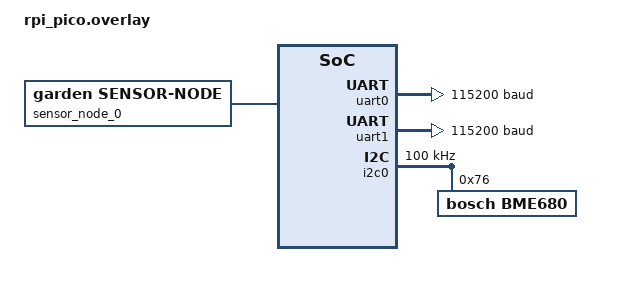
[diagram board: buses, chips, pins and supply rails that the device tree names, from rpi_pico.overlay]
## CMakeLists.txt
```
# SPDX-License-Identifier: Apache-2.0

cmake_minimum_required(VERSION 3.20.0)

find_package(Zephyr REQUIRED HINTS $ENV{ZEPHYR_BASE})
project(base_node)

# Include the protocol header directory
include_directories(${CMAKE_CURRENT_SOURCE_DIR}/../..)

# Add driver files
target_sources(app PRIVATE 
    ${CMAKE_CURRENT_SOURCE_DIR}/../driver/sensor_node_driver.c
)

# Add main application files
target_sources(app PRIVATE 
    src/main.c
)
```

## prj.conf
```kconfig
# Console
CONFIG_CONSOLE=y
CONFIG_UART_CONSOLE=y

# Logging
CONFIG_LOG=y
CONFIG_LOG_DEFAULT_LEVEL=3

# Shell
CONFIG_SHELL=y
CONFIG_SHELL_BACKEND_SERIAL=y
CONFIG_SHELL_PROMPT_UART="base_node:~$ "

# UART
CONFIG_SERIAL=y
CONFIG_UART_INTERRUPT_DRIVEN=y

# Sensors
CONFIG_SENSOR=y

# GPIO
CONFIG_GPIO=y

# Heap and Memory
CONFIG_HEAP_MEM_POOL_SIZE=8192
CONFIG_MAIN_STACK_SIZE=2048

# Threading
CONFIG_THREAD_NAME=y
CONFIG_THREAD_STACK_INFO=y
CONFIG_THREAD_MONITOR=y

# System
CONFIG_REBOOT=y
```

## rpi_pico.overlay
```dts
/*
 * Copyright (c) 2025 Smart Gardening System
 *
 * SPDX-License-Identifier: Apache-2.0
 */

/ {
    chosen {
        zephyr,console = &uart0;
        zephyr,shell-uart = &uart0;
    };

    sensor_node_0: sensor_node_0 {
        compatible = "garden,sensor-node";
        status = "okay";
    };
};

&uart0 {
    status = "okay";
    current-speed = <115200>;
};

&uart1 {
    status = "okay";
    current-speed = <115200>;
};

&i2c0 {
    status = "okay";
    clock-frequency = <100000>;

    bme680: bme680@76 {
        compatible = "bosch,bme680";
        label = "BME680";
        reg = <0x76>;
    };
};
```

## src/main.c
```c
/**
 * @file main.c
 * @brief Main application for the Smart Gardening System base node
 */

#include <zephyr/kernel.h>
#include <zephyr/device.h>
#include <zephyr/drivers/sensor.h>
#include <zephyr/shell/shell.h>
#include <zephyr/logging/log.h>
#include <zephyr/sys/printk.h>
#include <stdlib.h>
#include <stdio.h>
#include <string.h>

#include "protocol.h"

LOG_MODULE_REGISTER(main, CONFIG_LOG_DEFAULT_LEVEL);

/* Device reference for the sensor node */
static const struct device *sensor_node_dev; 

/* External functions from sensor driver */
extern int sensor_node_ping(const struct device *dev);
extern int sensor_node_set_threshold(const struct device *dev, uint8_t sensor_type, uint8_t alert_type, float threshold);

/* Threshold values */
static float light_low_threshold = 50.0f;    /* 50 lux */
static float light_high_threshold = 10000.0f; /* 10,000 lux */
static float temp_low_threshold = 10.0f;     /* 10°C */
static float temp_high_threshold = 30.0f;    /* 30°C */
static uint16_t soil_dry_threshold = 300;    /* 300 (30%) */
static uint16_t soil_wet_threshold = 700;    /* 700 (70%) */

/* Thread for periodic sensor reading */
#define SENSOR_THREAD_STACK_SIZE 2048
#define SENSOR_THREAD_PRIORITY 5

K_THREAD_STACK_DEFINE(sensor_thread_stack, SENSOR_THREAD_STACK_SIZE);
static struct k_thread sensor_thread_data;
static k_tid_t sensor_thread_id;
static volatile bool sensor_thread_running = false;

/* Forward declarations */
static int cmd_help(const struct shell *shell, size_t argc, char **argv);
static int cmd_ping(const struct shell *shell, size_t argc, char **argv);
static int cmd_show(const struct shell *shell, size_t argc, char **argv);
static int cmd_set(const struct shell *shell, size_t argc, char **argv);

/* Shell command handlers */
SHELL_STATIC_SUBCMD_SET_CREATE(sub_set,
    SHELL_CMD(light, NULL, "Set light threshold: set light low|high <value>", cmd_set),
    SHELL_CMD(temp, NULL, "Set temperature threshold: set temp low|high <value>", cmd_set),
    SHELL_CMD(soil, NULL, "Set soil moisture threshold: set soil dry|wet <value>", cmd_set),
    SHELL_SUBCMD_SET_END
);

SHELL_STATIC_SUBCMD_SET_CREATE(sub_show,
    SHELL_CMD(light, NULL, "Show light sensor data", cmd_show),
    SHELL_CMD(temp, NULL, "Show temperature sensor data", cmd_show),
    SHELL_CMD(soil, NULL, "Show soil moisture sensor data", cmd_show),
    SHELL_CMD(all, NULL, "Show all sensor data", cmd_show),
    SHELL_CMD(thresholds, NULL, "Show all threshold values", cmd_show),
    SHELL_SUBCMD_SET_END
);

SHELL_STATIC_SUBCMD_SET_CREATE(sub_commands,
    SHELL_CMD(help, NULL, "Display help information", cmd_help),
    SHELL_CMD(ping, NULL, "Ping the sensor node", cmd_ping),
    SHELL_CMD(show, &sub_show, "Show sensor data", NULL),
    SHELL_CMD(set, &sub_set, "Set sensor thresholds", NULL),
    SHELL_SUBCMD_SET_END
);

SHELL_CMD_REGISTER(help, &sub_commands, "Smart Gardening System Commands", cmd_help);

/* Shell command implementations */
static int cmd_help(const struct shell *shell, size_t argc, char **argv)
{
    shell_print(shell, "Smart Gardening System - Base Node");
    shell_print(shell, "Available commands:");
    shell_print(shell, "  help          - Display this help message");
    shell_print(shell, "  ping          - Ping the sensor node");
    shell_print(shell, "  show light    - Show light sensor data");
    shell_print(shell, "  show temp     - Show temperature sensor data");
    shell_print(shell, "  show soil     - Show soil moisture sensor data");
    shell_print(shell, "  show all      - Show all sensor data");
    shell_print(shell, "  show thresholds - Show all threshold values");
    shell_print(shell, "  set light low|high <value> - Set light threshold (lux)");
    shell_print(shell, "  set temp low|high <value>  - Set temperature threshold (°C)");
    shell_print(shell, "  set soil dry|wet <value>   - Set soil moisture threshold (0-1000)");
    return 0;
}

static int cmd_ping(const struct shell *shell, size_t argc, char **argv)
{
    int ret;
    
    shell_print(shell, "Pinging sensor node...");
    
    /* Send ping to sensor node via driver */
    ret = sensor_node_ping(sensor_node_dev);
    if (ret != 0) {
        shell_error(shell, "Failed to send ping: %d", ret);
        return ret;
    }
    
    /* Wait for response (ideally would wait for ACK) */
    k_sleep(K_MSEC(100));
    
    shell_print(shell, "Ping sent successfully");
    return 0;
}

static int cmd_show(const struct shell *shell, size_t argc, char **argv)
{
    struct sensor_value val;
    int ret;
    
    if (argc < 2) {
        shell_error(shell, "Missing parameter: show [light|temp|soil|all|thresholds]");
        return -EINVAL;
    }
    
    /* Fetch fresh data */
    ret = sensor_sample_fetch(sensor_node_dev);
    if (ret != 0) {
        shell_error(shell, "Failed to fetch sensor data: %d", ret);
        return ret;
    }
    
    /* Wait for response */
    k_sleep(K_MSEC(500));
    
    /* Show the requested data */
    if (strcmp(argv[1], "light") == 0 || strcmp(argv[1], "all") == 0) {
        /* Get light data */
        ret = sensor_channel_get(sensor_node_dev, SENSOR_CHAN_LIGHT, &val);
        if (ret == 0) {
            shell_print(shell, "Light: %.2f lux", sensor_value_to_double(&val));
            
            sensor_channel_get(sensor_node_dev, SENSOR_CHAN_PROX, &val);
            shell_print(shell, "  Full spectrum: %d", val.val1);
            
            sensor_channel_get(sensor_node_dev, SENSOR_CHAN_IR, &val);
            shell_print(shell, "  Infrared: %d", val.val1);
            
            sensor_channel_get(sensor_node_dev, SENSOR_CHAN_BLUE, &val);
            shell_print(shell, "  Visible: %d", val.val1);
        } else {
            shell_error(shell, "Failed to get light data: %d", ret);
        }
    }
    
    if (strcmp(argv[1], "temp") == 0 || strcmp(argv[1], "all") == 0) {
        /* Get temperature data */
        ret = sensor_channel_get(sensor_node_dev, SENSOR_CHAN_AMBIENT_TEMP, &val);
        if (ret == 0) {
            shell_print(shell, "Temperature: %.2f °C", sensor_value_to_double(&val));
        } else {
            shell_error(shell, "Failed to get temperature data: %d", ret);
        }
    }
    
    if (strcmp(argv[1], "soil") == 0 || strcmp(argv[1], "all") == 0) {
        /* Get soil moisture data */
        ret = sensor_channel_get(sensor_node_dev, SENSOR_CHAN_HUMIDITY, &val);
        if (ret == 0) {
            shell_print(shell, "Soil moisture: %d (%.1f%%)", 
                       val.val1, (float)val.val2 / 10000.0f);
            
            /* Get soil temperature */
            ret = sensor_channel_get(sensor_node_dev, SENSOR_CHAN_DIE_TEMP, &val);
            if (ret == 0) {
                shell_print(shell, "Soil temperature: %.2f °C", sensor_value_to_double(&val));
            }
        } else {
            shell_error(shell, "Failed to get soil moisture data: %d", ret);
        }
    }
    
    if (strcmp(argv[1], "thresholds") == 0) {
        shell_print(shell, "Threshold values:");
        shell_print(shell, "  Light: %.2f lux (low) - %.2f lux (high)", 
                   light_low_threshold, light_high_threshold);
        shell_print(shell, "  Temperature: %.2f °C (low) - %.2f °C (high)", 
                   temp_low_threshold, temp_high_threshold);
        shell_print(shell, "  Soil moisture: %d (dry) - %d (wet)", 
                   soil_dry_threshold, soil_wet_threshold);
    }
    
    return 0;
}

static int cmd_set(const struct shell *shell, size_t argc, char **argv)
{
    if (argc < 4) {
        shell_error(shell, "Missing parameters: set [light|temp|soil] [low|high|dry|wet] <value>");
        return -EINVAL;
    }
    
    /* Extract value parameter */
    float value = strtof(argv[3], NULL);
    int ret = 0;
    
    /* Process based on sensor type */
    if (strcmp(argv[1], "light") == 0) {
        if (strcmp(argv[2], "low") == 0) {
            light_low_threshold = value;
            ret = sensor_node_set_threshold(sensor_node_dev, SENSOR_LIGHT, ALERT_LIGHT_LOW, value);
            shell_print(shell, "Set light low threshold to %.2f lux", value);
        } else if (strcmp(argv[2], "high") == 0) {
            light_high_threshold = value;
            ret = sensor_node_set_threshold(sensor_node_dev, SENSOR_LIGHT, ALERT_LIGHT_HIGH, value);
            shell_print(shell, "Set light high threshold to %.2f lux", value);
        } else {
            shell_error(shell, "Invalid parameter: %s (expected 'low' or 'high')", argv[2]);
            return -EINVAL;
        }
    } else if (strcmp(argv[1], "temp") == 0) {
        if (strcmp(argv[2], "low") == 0) {
            temp_low_threshold = value;
            ret = sensor_node_set_threshold(sensor_node_dev, SENSOR_TEMPERATURE, ALERT_TEMP_LOW, value);
            shell_print(shell, "Set temperature low threshold to %.2f °C", value);
        } else if (strcmp(argv[2], "high") == 0) {
            temp_high_threshold = value;
            ret = sensor_node_set_threshold(sensor_node_dev, SENSOR_TEMPERATURE, ALERT_TEMP_HIGH, value);
            shell_print(shell, "Set temperature high threshold to %.2f °C", value);
        } else {
            shell_error(shell, "Invalid parameter: %s (expected 'low' or 'high')", argv[2]);
            return -EINVAL;
        }
    } else if (strcmp(argv[1], "soil") == 0) {
        if (strcmp(argv[2], "dry") == 0) {
            soil_dry_threshold = (uint16_t)value;
            ret = sensor_node_set_threshold(sensor_node_dev, SENSOR_SOIL_MOISTURE, ALERT_SOIL_DRY, value);
            shell_print(shell, "Set soil dry threshold to %d", soil_dry_threshold);
        } else if (strcmp(argv[2], "wet") == 0) {
            soil_wet_threshold = (uint16_t)value;
            ret = sensor_node_set_threshold(sensor_node_dev, SENSOR_SOIL_MOISTURE, ALERT_SOIL_WET, value);
            shell_print(shell, "Set soil wet threshold to %d", soil_wet_threshold);
        } else {
            shell_error(shell, "Invalid parameter: %s (expected 'dry' or 'wet')", argv[2]);
            return -EINVAL;
        }
    } else {
        shell_error(shell, "Invalid parameter: %s (expected 'light', 'temp', or 'soil')", argv[1]);
        return -EINVAL;
    }
    
    if (ret != 0) {
        shell_error(shell, "Failed to set threshold: %d", ret);
    }
    
    return ret;
}

/* Sensor reading thread */
static void sensor_thread(void *arg1, void *arg2, void *arg3)
{
    struct sensor_value val;
    int ret;
    
    ARG_UNUSED(arg1);
    ARG_UNUSED(arg2);
    ARG_UNUSED(arg3);
    
    printk("Sensor reading thread started\n");
    
    while (sensor_thread_running) {
        /* Fetch and process sensor data every 5 seconds */
        ret = sensor_sample_fetch(sensor_node_dev);
        if (ret == 0) {
            /* Get light data */
            if (sensor_channel_get(sensor_node_dev, SENSOR_CHAN_LIGHT, &val) == 0) {
                float lux = sensor_value_to_double(&val);
                if (lux < light_low_threshold) {
                    printk("ALERT: Light level below threshold (%.2f lux)\n", lux);
                } else if (lux > light_high_threshold) {
                    printk("ALERT: Light level above threshold (%.2f lux)\n", lux);
                }
            }
            
            /* Get temperature data */
            if (sensor_channel_get(sensor_node_dev, SENSOR_CHAN_AMBIENT_TEMP, &val) == 0) {
                float temp = sensor_value_to_double(&val);
                if (temp < temp_low_threshold) {
                    printk("ALERT: Temperature below threshold (%.2f °C)\n", temp);
                } else if (temp > temp_high_threshold) {
                    printk("ALERT: Temperature above threshold (%.2f °C)\n", temp);
                }
            }
            
            /* Get soil moisture data */
            if (sensor_channel_get(sensor_node_dev, SENSOR_CHAN_HUMIDITY, &val) == 0) {
                if (val.val1 < soil_dry_threshold) {
                    printk("ALERT: Soil too dry (%d)\n", val.val1);
                } else if (val.val1 > soil_wet_threshold) {
                    printk("ALERT: Soil too wet (%d)\n", val.val1);
                }
            }
        } else {
            printk("Failed to fetch sensor data: %d\n", ret);
        }
        
        k_sleep(K_SECONDS(5));
    }
    
    printk("Sensor reading thread stopped\n");
}

/* External functions from sensor driver */
//extern int sensor_node_ping(const struct device *dev);
//extern int sensor_node_set_threshold(const struct device *dev, uint8_t sensor_type, 
                                     uint8_t alert_type, float threshold);

int main(void)
{
    printk("Smart Gardening System - Base Node\n");
    printk("--------------------------------\n");
    
    /* Get sensor node device */
    sensor_node_dev = DEVICE_DT_GET(DT_NODELABEL(sensor_node_0));
    if (!device_is_ready(sensor_node_dev)) {
        printk("Sensor node device not ready\n");
        return;
    }
    
    printk("Sensor node device ready\n");
    
    /* Start sensor reading thread */
    sensor_thread_running = true;
    sensor_thread_id = k_thread_create(&sensor_thread_data, sensor_thread_stack,
                                      K_THREAD_STACK_SIZEOF(sensor_thread_stack),
                                      sensor_thread, NULL, NULL, NULL,
                                      SENSOR_THREAD_PRIORITY, 0, K_NO_WAIT);
    
    if (sensor_thread_id == NULL) {
        printk("Failed to create sensor thread\n");
        return;
    }
    
    k_thread_name_set(sensor_thread_id, "sensor_thread");
    
    printk("System initialized and running\n");
    printk("Type 'help' for available commands\n");
    
    return 0;
}
```
